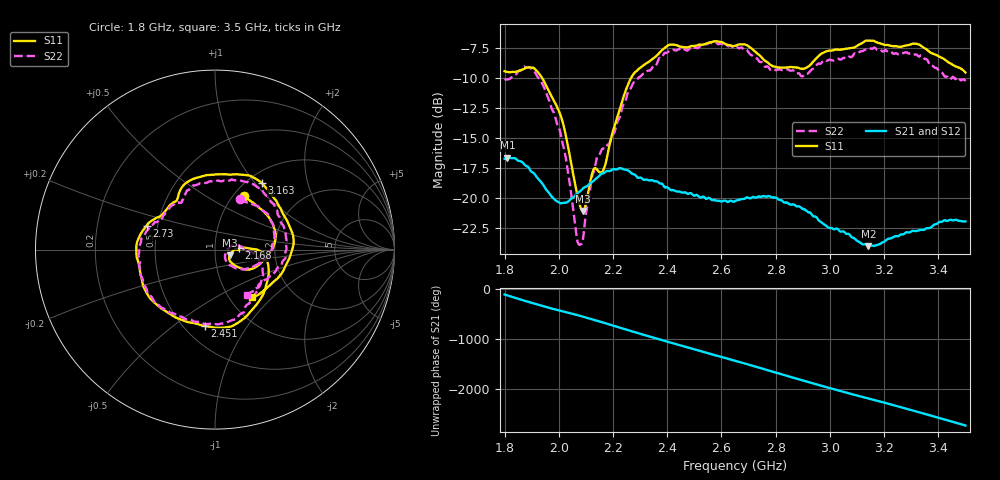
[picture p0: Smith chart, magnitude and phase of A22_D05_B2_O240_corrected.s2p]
! Created with skrf 1.9.0 (http://scikit-rf.org).
# Hz S RI R 50.0
!freq ReS11 ImS11 ReS21 ImS21 ReS12 ImS12 ReS22 ImS22
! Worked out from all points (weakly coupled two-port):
!   1601 points, 1.8 GHz to 3.5 GHz, reference 50 ohm
!   highest |S21| = -16.66 dB at 1.811 GHz (marker M1); lowest = -24.1 dB at 3.142 GHz (marker M2)
!   lowest |S11| = -21.1 dB at 2.09 GHz (marker M3), VSWR 1.19, Z = 58.8 - j3.7 ohm
!   |S11| at or under -10 dB: 1.939 GHz to 2.266 GHz (326.6 MHz wide, 15.5 % of centre)
!   |S22| runs from -23.9 to -7.0 dB; largest |S21 - S12| = 0.0026
!   S11 on the Smith chart (normalised r, x): 1.8 GHz: 1.13, +0.75; 2.168 GHz: 1.31, +0.02; 2.451 GHz: 0.63, -0.66; 2.73 GHz: 0.43, +0.14; 3.163 GHz: 1.17, +1.09; 3.5 GHz: 1.26, -0.75
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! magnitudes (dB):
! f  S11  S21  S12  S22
! 1.8 GHz  -9.4  -16.7  -16.7  -10.0
! 1.811 GHz  -9.5  -16.7  -16.7  -10.1
! 1.886 GHz  -9.1  -17.4  -17.5  -9.1
! 1.943 GHz  -10.2  -19.0  -19.0  -10.7
! 2.011 GHz  -13.4  -20.5  -20.4  -15.2
! 2.067 GHz  -19.6  -19.7  -19.7  -23.4
! 2.084 GHz  -21.0  -19.4  -19.3  -23.9
! 2.09 GHz  -21.1  -19.2  -19.2  -23.3
! 2.128 GHz  -17.6  -18.6  -18.6  -17.8
! 2.168 GHz  -17.5  -17.9  -17.9  -15.9
! 2.262 GHz  -10.2  -17.8  -17.8  -10.9
! 2.367 GHz  -8.0  -18.7  -18.7  -8.4
! 2.451 GHz  -7.4  -19.5  -19.5  -7.7
! 2.65 GHz  -7.3  -20.3  -20.3  -7.4
! 2.73 GHz  -7.9  -20.0  -20.0  -8.3
! 2.808 GHz  -9.1  -20.1  -20.1  -9.3
! 2.934 GHz  -8.7  -21.4  -21.4  -9.3
! 3.142 GHz  -6.8  -24.1  -24.0  -7.5
! 3.163 GHz  -6.9  -24.0  -24.0  -7.4
! 3.217 GHz  -7.2  -23.4  -23.4  -7.8
! 3.326 GHz  -7.1  -22.8  -22.7  -8.1
! 3.5 GHz  -9.5  -22.0  -22.0  -10.2
